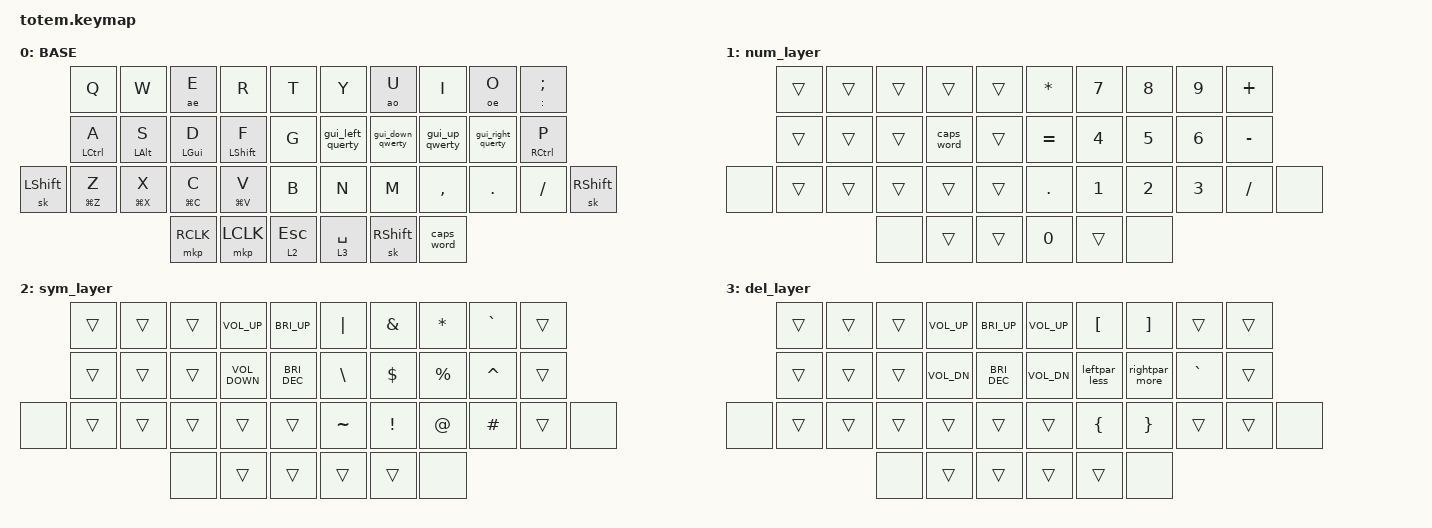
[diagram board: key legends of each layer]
#include <behaviors.dtsi>
#include <dt-bindings/zmk/bt.h>
#include <dt-bindings/zmk/keys.h>
#include <dt-bindings/zmk/pointing.h>

#define BASE 0
#define NAV  1
#define SYM  2
#define ADJ  3
#define TVP1 4
#define TVP2 5

&mt {
    quick-tap-ms = <100>;
    global-quick-tap;
    flavor = "tap-preferred";
    tapping-term-ms = <170>;
};

/ {
    behaviors {
        hm: hm {
            compatible = "zmk,behavior-hold-tap";
            label = "HM";
            bindings = <&kp>, <&kp>;

            #binding-cells = <2>;
            flavor = "tap-preferred";
            tapping-term-ms = <150>;
            require-prior-idle-ms = <150>;
            retro-tap;
        };

        ae: ae {
            compatible = "zmk,behavior-mod-morph";
            label = "AE";
            bindings = <&small_ae>, <&capital_ae>;

            #binding-cells = <0>;
            mods = <(MOD_LSFT|MOD_RSFT)>;
        };

        oe: oe {
            compatible = "zmk,behavior-mod-morph";
            label = "OE";
            bindings = <&small_oe>, <&capital_oe>;

            #binding-cells = <0>;
            mods = <(MOD_LSFT|MOD_RSFT)>;
        };

        ao: ao {
            compatible = "zmk,behavior-mod-morph";
            label = "AO";
            bindings = <&kp LA(A)>, <&kp LS(LA(A))>;

            #binding-cells = <0>;
            mods = <(MOD_LSFT|MOD_RSFT)>;
        };

        lp_ae: lp_ae {
            compatible = "zmk,behavior-hold-tap";
            label = "LP_AE";
            bindings = <&ae>, <&kp>;

            #binding-cells = <2>;
            tapping-term-ms = <150>;
            flavor = "tap-preferred";
        };

        lp_oe: lp_oe {
            compatible = "zmk,behavior-hold-tap";
            label = "LP_OE";
            bindings = <&oe>, <&kp>;

            #binding-cells = <2>;
            tapping-term-ms = <150>;
            flavor = "tap-preferred";
        };

        lp_ao: lp_ao {
            compatible = "zmk,behavior-hold-tap";
            label = "LP_AO";
            bindings = <&ao>, <&kp>;

            #binding-cells = <2>;
            tapping-term-ms = <150>;
            flavor = "tap-preferred";
        };

        gui_left_querty: gui_left_querty {
            compatible = "zmk,behavior-mod-morph";
            label = "GUI_LEFT_QUERTY";
            bindings = <&kp H>, <&kp LEFT_ARROW>;

            #binding-cells = <0>;
            mods = <(MOD_LGUI)>;
        };

        gui_down_qwerty: gui_down_qwerty {
            compatible = "zmk,behavior-mod-morph";
            label = "GUI_DOWN_QWERTY";
            bindings = <&hm RIGHT_SHIFT J>, <&kp DOWN_ARROW>;

            #binding-cells = <0>;
            mods = <(MOD_LGUI)>;
        };

        gui_up_qwerty: gui_up_qwerty {
            compatible = "zmk,behavior-mod-morph";
            label = "GUI_UP_QWERTY";
            bindings = <&hm RIGHT_GUI K>, <&kp UP_ARROW>;

            #binding-cells = <0>;
            mods = <(MOD_LGUI)>;
        };

        gui_right_querty: gui_right_querty {
            compatible = "zmk,behavior-mod-morph";
            label = "GUI_RIGHT_QUERTY";
            bindings = <&hm RIGHT_ALT L>, <&kp RIGHT>;

            #binding-cells = <0>;
            mods = <(MOD_LGUI)>;
        };

        ht: ht {
            compatible = "zmk,behavior-hold-tap";
            label = "HT";
            bindings = <&kp>, <&kp>;

            #binding-cells = <2>;
            tapping-term-ms = <200>;
            flavor = "tap-preferred";
        };

        leftpar_less: leftpar_less {
            compatible = "zmk,behavior-mod-morph";
            label = "LEFTPAR_LESS";
            bindings = <&kp LEFT_PARENTHESIS>, <&kp LESS_THAN>;

            #binding-cells = <0>;
            mods = <(MOD_LSFT|MOD_RSFT)>;
        };

        rightpar_more: rightpar_more {
            compatible = "zmk,behavior-mod-morph";
            label = "RIGHTPAR_MORE";
            bindings = <&kp RIGHT_PARENTHESIS>, <&kp GREATER_THAN>;

            #binding-cells = <0>;
            mods = <(MOD_LSFT|MOD_RSFT)>;
        };
    };

    combos {
        compatible = "zmk,combos";

        tab {
            bindings = <&lt 1 TAB>;
            key-positions = <13 12>;
        };

        backsp {
            bindings = <&kp BACKSPACE>;
            key-positions = <16 17>;
        };

        dash {
            bindings = <&lt 2 MINUS>;
            key-positions = <12 11>;
        };

        underscore {
            bindings = <&kp UNDERSCORE>;
            key-positions = <22 23>;
        };

        double_quote {
            bindings = <&kp DOUBLE_QUOTES>;
            key-positions = <17 18>;
        };

        single_quote {
            bindings = <&kp SINGLE_QUOTE>;
            key-positions = <28 29>;
        };

        left_mouse_click {
            bindings = <&mkp RCLK>;
            key-positions = <13 33>;
            layers = <0>;
        };

        enter {
            bindings = <&kp ENTER>;
            key-positions = <13 16>;
        };

        bt_clear {
            bindings = <&bt BT_CLR_ALL>;
            key-positions = <0 1 2>;
        };

        excl_mark {
            bindings = <&kp EXCL>;
            key-positions = <6 7>;
            timeout-ms = <30>;
        };

        studio_unlock {
            bindings = <&studio_unlock>;
            key-positions = <0 20>;
        };

        email {
            bindings = <&emailaddress>;
            key-positions = <18 19 17>;
        };

        enter2 {
            bindings = <&kp ENTER>;
            key-positions = <27 26>;
        };

        emailprivate {
            bindings = <&emailaddressprivate>;
            key-positions = <28 29 30>;
        };

        tilde {
            bindings = <&kp TILDE>;
            key-positions = <25 26>;
        };
    };

    macros {
        small_ae: small_ae {
            compatible = "zmk,behavior-macro";
            #binding-cells = <0>;
            bindings = <&kp LA(U) &kp A>;
            label = "SMALL_AE";
            wait-ms = <0>;
        };

        capital_ae: capital_ae {
            compatible = "zmk,behavior-macro";
            #binding-cells = <0>;
            bindings = <&kp LA(U) &kp LS(A)>;
            label = "CAPITAL_AE";
            wait-ms = <0>;
        };

        small_oe: small_oe {
            compatible = "zmk,behavior-macro";
            #binding-cells = <0>;
            bindings = <&kp LA(U) &kp O>;
            label = "SMALL_OE";
        };

        capital_oe: capital_oe {
            compatible = "zmk,behavior-macro";
            #binding-cells = <0>;
            bindings = <&kp LA(U) &kp LS(O)>;
            label = "CAPITAL_OE";
            wait-ms = <0>;
        };

        emailaddress: emailaddress {
            compatible = "zmk,behavior-macro";
            #binding-cells = <0>;
            bindings = <&none &kp A &kp N &kp D &kp R &kp E &kp A &kp S &kp DOT &kp H &kp A &kp L &kp L &kp B &kp E &kp R &kp G &kp AT &kp S &kp P &kp R &kp A &kp K &kp DOT &kp G &kp U &kp DOT &kp S &kp E>;
            label = "EMAILADDRESS";
            wait-ms = <0>;
        };

        emailaddressprivate: emailaddressprivate {
            compatible = "zmk,behavior-macro";
            #binding-cells = <0>;
            bindings = <&none &kp A &kp N &kp D &kp R &kp E &kp A &kp S &kp M &kp A &kp R &kp T &kp E &kp N &kp H &kp A &kp L &kp L &kp B &kp E &kp R &kp G &kp AT &kp G &kp M &kp A &kp I &kp L &kp DOT &kp C &kp O &kp M>;
            label = "EMAILADDRESSPRIVATE";
            wait-ms = <0>;
        };
    };

    keymap {
        compatible = "zmk,keymap";

        // ▄▄▄▄▄▄▄▄▄▄▄▄▄▄▄▄▄▄▄▄▄▄▄▄▄▄▄▄▄▄▄▄▄▄▄▄▄▄▄▄▄▄▄▄▄▄▄▄▄▄▄▄▄▄▄▄▄▄▄▄▄▄▄▄▄▄▄▄▄▄▄▄▄▄▄▄▄▄▄▄▄▄▄▄▄▄▄▄▄▄▄▄▄▄▄▄▄▄▄▄▄▄▄▄▄▄▄▄▄▄▄▄▄▄▄▄▄▄▄▄▄▄▄▄▄▄▄▄▄▄▄▄▄▄▄▄▄▄▄▄▄▄▄▄▄▄▄▄▄

        base_layer {
            label = "BASE";
            bindings = <
                &kp Q        &kp W           &lp_ae 0 E      &kp R             &kp T           &kp Y             &lp_ao 0 U        &kp I           &lp_oe 0 O         &ht COLON SEMI
                &hm LCTRL A  &hm LEFT_ALT S  &hm LEFT_GUI D  &hm LEFT_SHIFT F  &kp G           &gui_left_querty  &gui_down_qwerty  &gui_up_qwerty  &gui_right_querty  &hm RCTRL P
&sk LEFT_SHIFT  &ht LG(Z) Z  &ht LG(X) X     &ht LG(C) C     &ht LG(V) V       &kp B           &kp N             &kp M             &kp COMMA       &kp DOT            &kp FSLH        &sk RIGHT_SHIFT
                                             &mkp RCLK       &mkp LCLK         &lt 2 ESCAPE    &lt 3 SPACE       &sk RIGHT_SHIFT   &caps_word
            >;
        };

        num_layer {
            bindings = <
       &trans  &trans  &trans  &trans      &trans    &kp ASTRK     &kp N7        &kp N8        &kp N9        &kp PLUS
       &trans  &trans  &trans  &caps_word  &trans    &kp EQUAL     &kp NUMBER_4  &kp NUMBER_5  &kp NUMBER_6  &kp MINUS
&none  &trans  &trans  &trans  &trans      &trans    &kp PERIOD    &kp NUMBER_1  &kp NUMBER_2  &kp NUMBER_3  &kp SLASH  &none
                       &none   &trans      &trans    &kp NUMBER_0  &trans        &none
            >;
        };

        sym_layer {
            bindings = <
       &trans  &trans  &trans  &kp C_VOLUME_UP    &kp C_BRI_UP     &kp PIPE       &kp AMPS    &kp ASTRK    &kp GRAVE  &trans
       &trans  &trans  &trans  &kp K_VOLUME_DOWN  &kp C_BRI_DEC    &kp BACKSLASH  &kp DOLLAR  &kp PERCENT  &kp CARET  &trans
&none  &trans  &trans  &trans  &trans             &trans           &kp TILDE      &kp EXCL    &kp AT       &kp HASH   &trans  &none
                       &none   &trans             &trans           &trans         &trans      &none
            >;
        };

        del_layer {
            bindings = <
       &trans  &trans  &trans  &kp C_VOLUME_UP  &kp C_BRI_UP     &kp C_VOLUME_UP  &kp LEFT_BRACKET  &kp RIGHT_BRACKET  &trans     &trans
       &trans  &trans  &trans  &kp C_VOL_DN     &kp C_BRI_DEC    &kp C_VOL_DN     &leftpar_less     &rightpar_more     &kp GRAVE  &trans
&none  &trans  &trans  &trans  &trans           &trans           &trans           &kp LEFT_BRACE    &kp RIGHT_BRACE    &trans     &trans  &none
                       &none   &trans           &trans           &trans           &trans            &none
            >;
        };

        // ▄▄▄▄▄▄▄▄▄▄▄▄▄▄▄▄▄▄▄▄▄▄▄▄▄▄▄▄▄▄▄▄▄▄▄▄▄▄▄▄▄▄▄▄▄▄▄▄▄▄▄▄▄▄▄▄▄▄▄▄▄▄▄▄▄▄▄▄▄▄▄▄▄▄▄▄▄▄▄▄▄▄▄▄▄▄▄▄▄▄▄▄▄▄▄▄▄▄▄▄▄▄▄▄▄▄▄▄▄▄▄▄▄▄▄▄▄▄▄▄▄▄▄▄▄▄▄▄▄▄▄▄▄▄▄▄▄▄▄▄▄▄▄▄▄▄▄▄▄
        // ▄▄▄▄▄▄▄▄▄▄▄▄▄▄▄▄▄▄▄▄▄▄▄▄▄▄▄▄▄▄▄▄▄▄▄▄▄▄▄▄▄▄▄▄▄▄▄▄▄▄▄▄▄▄▄▄▄▄▄▄▄▄▄▄▄▄▄▄▄▄▄▄▄▄▄▄▄▄▄▄▄▄▄▄▄▄▄▄▄▄▄▄▄▄▄▄▄▄▄▄▄▄▄▄▄▄▄▄▄▄▄▄▄▄▄▄▄▄▄▄▄▄▄▄▄▄▄▄▄▄▄▄▄▄▄▄▄▄▄▄▄▄▄▄▄▄▄▄▄
        // ▄▄▄▄▄▄▄▄▄▄▄▄▄▄▄▄▄▄▄▄▄▄▄▄▄▄▄▄▄▄▄▄▄▄▄▄▄▄▄▄▄▄▄▄▄▄▄▄▄▄▄▄▄▄▄▄▄▄▄▄▄▄▄▄▄▄▄▄▄▄▄▄▄▄▄▄▄▄▄▄▄▄▄▄▄▄▄▄▄▄▄▄▄▄▄▄▄▄▄▄▄▄▄▄▄▄▄▄▄▄▄▄▄▄▄▄▄▄▄▄▄▄▄▄▄▄▄▄▄▄▄▄▄▄▄▄▄▄▄▄▄▄▄▄▄▄▄▄▄
    };
};
